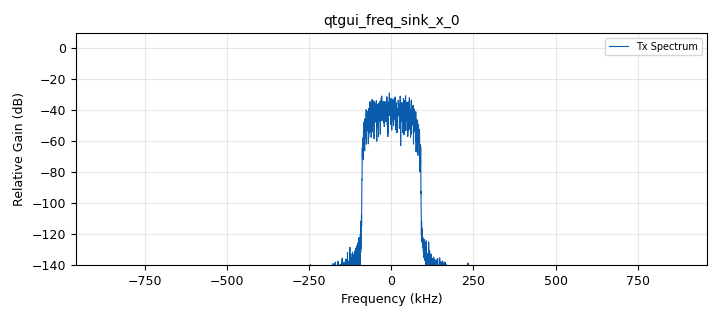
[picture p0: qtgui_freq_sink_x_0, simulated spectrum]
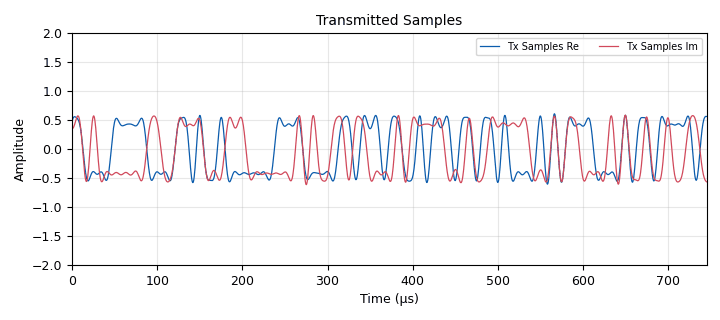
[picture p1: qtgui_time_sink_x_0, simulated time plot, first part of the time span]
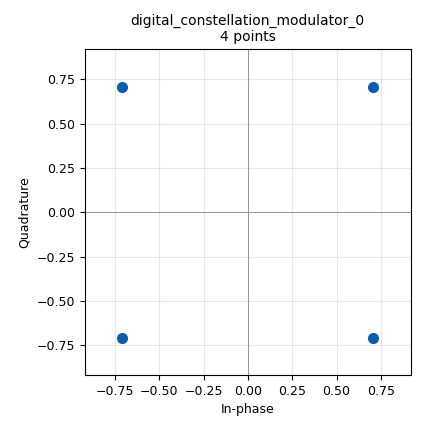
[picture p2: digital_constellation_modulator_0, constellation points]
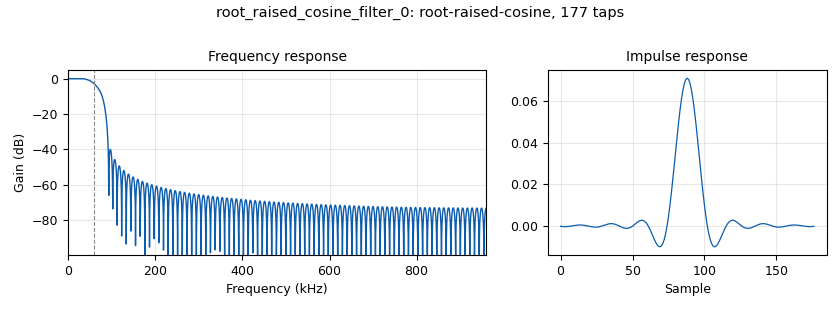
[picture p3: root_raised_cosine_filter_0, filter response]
options:
  parameters:
    generate_options: qt_gui
    id: fll_loopback_jupiter
    output_language: python
    title: fll_loopback_jupiter
  states: {}

blocks:
- name: alpha
  id: variable
  parameters:
    value: '0.5'
  states: {}
- name: buff_size
  id: variable
  parameters:
    value: int(32768)
  states: {}
- name: constellation
  id: variable_constellation
  parameters:
    const_points: '[-1-1j, -1+1j, 1+1j, 1-1j]'
    dims: '1'
    normalization: digital.constellation.AMPLITUDE_NORMALIZATION
    precision: '8'
    rot_sym: '4'
    sym_map: '[0, 1, 2, 3]'
    type: calcdist
  states: {}
- name: gain_control_mode_rx0
  id: variable
  parameters:
    value: '''spi'''
  states: {}
- name: hardwaregain_rx0
  id: variable
  parameters:
    value: int(15)
  states: {}
- name: hardwaregain_tx0
  id: variable
  parameters:
    value: int(0)
  states: {}
- name: interval_update
  id: variable
  parameters:
    value: int(0)
  states: {}
- name: jupiter_ip
  id: variable_config
  parameters:
    config_file: default
    option: key
    section: main
    type: string
    value: ip:jupiter.local
    writeback: None
  states: {}
- name: lo_offset
  id: variable
  parameters:
    value: int(0)
  states: {}
- name: offset_rx
  id: variable_qtgui_range
  parameters:
    gui_hint: (1,0,1,2)
    start: '-2000000'
    step: '1'
    stop: '1000000'
    value: '-250000'
  states: {}
- name: offset_tx
  id: variable
  parameters:
    value: int(250000)
  states: {}
- name: rx_lo_freq
  id: variable
  parameters:
    value: int(2200000000 )
  states: {}
- name: samp_rate
  id: variable
  parameters:
    value: '1920000'
  states: {}
- name: sps
  id: variable
  parameters:
    value: '16'
  states: {}
- name: tx_lo_freq
  id: variable
  parameters:
    value: int(2200000000 - lo_offset)
  states: {}
- name: analog_agc_xx_0
  id: analog_agc_xx
  parameters:
    gain: '1.0'
    max_gain: '65536'
    rate: '1e-4'
    reference: '1.0'
    type: complex
  states: {}
- name: analog_random_uniform_source_x_0
  id: analog_random_uniform_source_x
  parameters:
    maximum: '4'
    minimum: '0'
    seed: '0'
    type: byte
  states: {}
- name: analog_sig_source_x_0_0
  id: analog_sig_source_x
  parameters:
    amp: '1'
    freq: offset_tx
    offset: '0'
    phase: '0'
    samp_rate: samp_rate
    type: complex
    waveform: analog.GR_COS_WAVE
  states: {}
- name: analog_sig_source_x_0_0_0
  id: analog_sig_source_x
  parameters:
    amp: '1'
    freq: offset_rx
    offset: '0'
    phase: '0'
    samp_rate: samp_rate
    type: complex
    waveform: analog.GR_COS_WAVE
  states: {}
- name: blocks_complex_to_imag_0_4_0
  id: blocks_complex_to_imag
  parameters: {}
  states: {}
- name: blocks_complex_to_real_0_4_0
  id: blocks_complex_to_real
  parameters: {}
  states: {}
- name: blocks_float_to_complex_0
  id: blocks_float_to_complex
  parameters: {}
  states: {}
- name: blocks_float_to_short_0_0_4_0
  id: blocks_float_to_short
  parameters:
    scale: '32767'
  states: {}
- name: blocks_float_to_short_0_5_0
  id: blocks_float_to_short
  parameters:
    scale: '32767'
  states: {}
- name: blocks_multiply_const_vxx_0
  id: blocks_multiply_const_vxx
  parameters:
    const: '0.6'
    type: complex
  states: {}
- name: blocks_multiply_xx_0_0
  id: blocks_multiply_xx
  parameters:
    type: complex
  states: {}
- name: blocks_multiply_xx_0_0_0
  id: blocks_multiply_xx
  parameters:
    type: complex
  states: {}
- name: blocks_short_to_float_0
  id: blocks_short_to_float
  parameters:
    scale: '32767'
  states: {}
- name: blocks_short_to_float_0_1
  id: blocks_short_to_float
  parameters:
    scale: '32767'
  states: {}
- name: blocks_unpacked_to_packed_xx_0
  id: blocks_unpacked_to_packed_xx
  parameters:
    bits_per_chunk: '2'
    endianness: gr.GR_MSB_FIRST
    type: byte
  states: {}
- name: blocks_vector_source_x_0
  id: blocks_vector_source_x
  parameters:
    repeat: 'True'
    type: byte
    vector: (2,2,3,1,3,1,0,2,0)
  states: {state: disabled}
- name: digital_constellation_modulator_0
  id: digital_constellation_modulator
  parameters:
    constellation: constellation
    differential: 'True'
    excess_bw: alpha
    samples_per_symbol: sps
  states: {}
- name: digital_fll_band_edge_cc_0
  id: digital_fll_band_edge_cc
  parameters:
    filter_size: sps*2+1
    rolloff: alpha
    samps_per_sym: sps
    type: cc
    w: 2*math.pi/sps/100
  states: {}
- name: iio_attr_sink_0
  id: iio_attr_sink
  parameters:
    attr_type: '0'
    channel: voltage0
    device: adrv9002-phy
    output: 'False'
    uri: jupiter_ip
  states: {}
- name: iio_attr_sink_0_0
  id: iio_attr_sink
  parameters:
    attr_type: '0'
    channel: voltage1
    device: adrv9002-phy
    output: 'False'
    uri: jupiter_ip
  states: {}
- name: iio_attr_sink_0_0_0
  id: iio_attr_sink
  parameters:
    attr_type: '0'
    channel: voltage1
    device: adrv9002-phy
    output: 'True'
    uri: jupiter_ip
  states: {}
- name: iio_attr_sink_0_1
  id: iio_attr_sink
  parameters:
    attr_type: '0'
    channel: voltage0
    device: adrv9002-phy
    output: 'True'
    uri: jupiter_ip
  states: {}
- name: iio_attr_sink_0_1_0
  id: iio_attr_sink
  parameters:
    attr_type: '0'
    channel: altvoltage0
    device: adrv9002-phy
    output: 'True'
    uri: jupiter_ip
  states: {}
- name: iio_attr_sink_0_1_0_0
  id: iio_attr_sink
  parameters:
    attr_type: '0'
    channel: altvoltage2
    device: adrv9002-phy
    output: 'True'
    uri: jupiter_ip
  states: {}
- name: iio_attr_sink_0_1_0_1
  id: iio_attr_sink
  parameters:
    attr_type: '0'
    channel: voltage0
    device: adrv9002-phy
    output: 'False'
    uri: jupiter_ip
  states: {}
- name: iio_attr_updater_0
  id: iio_attr_updater
  parameters:
    attr: hardwaregain
    interval: interval_update
    value: str(hardwaregain_rx0)
  states: {}
- name: iio_attr_updater_0_0
  id: iio_attr_updater
  parameters:
    attr: hardwaregain
    interval: interval_update
    value: str(0)
  states: {}
- name: iio_attr_updater_0_0_0
  id: iio_attr_updater
  parameters:
    attr: hardwaregain
    interval: interval_update
    value: str(-40)
  states: {}
- name: iio_attr_updater_0_1
  id: iio_attr_updater
  parameters:
    attr: hardwaregain
    interval: interval_update
    value: str(hardwaregain_tx0)
  states: {}
- name: iio_attr_updater_0_1_0
  id: iio_attr_updater
  parameters:
    attr: frequency
    interval: interval_update
    value: str(rx_lo_freq)
  states: {}
- name: iio_attr_updater_0_1_0_0
  id: iio_attr_updater
  parameters:
    attr: frequency
    interval: interval_update
    value: str(tx_lo_freq)
  states: {}
- name: iio_attr_updater_0_1_0_1
  id: iio_attr_updater
  parameters:
    attr: gain_control_mode
    interval: interval_update
    value: gain_control_mode_rx0
  states: {}
- name: iio_device_sink_0_1
  id: iio_device_sink
  parameters:
    buffer_size: buff_size
    channels: '[''voltage0'',''voltage1'']'
    cyclic: 'True'
    device: axi-adrv9002-tx-lpc
    device_phy: adrv9002-phy
    interpolation: '1'
    params: '[]'
    uri: jupiter_ip
  states: {}
- name: iio_device_source_0
  id: iio_device_source
  parameters:
    buffer_size: buff_size
    channels: '[''voltage0_i'',''voltage0_q'']'
    decimation: '1'
    device: axi-adrv9002-rx-lpc
    device_phy: adrv9002-phy
    params: '[]'
    uri: jupiter_ip
  states: {}
- name: import_0
  id: import
  parameters:
    imports: import math
  states: {}
- name: qtgui_const_sink_x_0
  id: qtgui_const_sink_x
  parameters:
    grid: 'True'
    gui_hint: (3,0,1,1)
    label1: Received Constellation
    name: Received Constellation
    size: '1024'
    tr_level: '0.5'
    tr_mode: qtgui.TRIG_MODE_NORM
    type: complex
  states: {}
- name: qtgui_eye_sink_x_0_0
  id: qtgui_eye_sink_x
  parameters:
    grid: 'True'
    gui_hint: (3,1,1,1)
    label1: Rx Samples Re
    label2: Rx Samples Im
    samp_per_symbol: sps
    size: '1024'
    srate: samp_rate
    type: complex
    ymax: '2'
    ymin: '-2'
  states: {}
- name: qtgui_freq_sink_x_0
  id: qtgui_freq_sink_x
  parameters:
    bw: samp_rate
    fc: '0'
    fftsize: '8192'
    grid: 'True'
    gui_hint: (0,1,1,1)
    label1: Tx Spectrum
    tr_level: '-40'
    tr_mode: qtgui.TRIG_MODE_NORM
    type: complex
    update_time: '1'
  states: {}
- name: qtgui_freq_sink_x_0_0_0
  id: qtgui_freq_sink_x
  parameters:
    bw: samp_rate
    color4: '"magenta"'
    fc: '0'
    fftsize: '8192'
    grid: 'True'
    gui_hint: (2,1,1,1)
    label1: Rx Spectrum
    label2: Rx Spectrum + Freq Offset
    label3: Rx Spectrum + Freq Offset + FLL
    label4: Rx Spectrum+Freq Offset+FLL+RRC
    name: '"Received spectrum"'
    nconnections: '4'
    tr_level: '-40'
    tr_mode: qtgui.TRIG_MODE_NORM
    type: complex
    width4: '3'
  states: {}
- name: qtgui_time_sink_x_0
  id: qtgui_time_sink_x
  parameters:
    grid: 'True'
    gui_hint: (0,0,1,1)
    label1: Tx Samples Re
    label2: Tx Samples Im
    name: Transmitted Samples
    size: 1024*3
    srate: samp_rate
    tr_level: '0.5'
    tr_mode: qtgui.TRIG_MODE_NORM
    type: complex
    ymax: '2'
    ymin: '-2'
  states: {}
- name: qtgui_time_sink_x_1_0
  id: qtgui_time_sink_x
  parameters:
    grid: 'True'
    gui_hint: (2,0,1,1)
    label1: Rx Samples+Freq Offset+FLL+RRC Re
    label2: Rx Samples+Freq Offset+FLL+RRC Im
    name: '"Received Samples"'
    size: 1024*3
    srate: samp_rate
    tr_level: '0.1'
    tr_mode: qtgui.TRIG_MODE_NORM
    type: complex
    ymax: '2'
    ymin: '-2'
  states: {}
- name: root_raised_cosine_filter_0
  id: root_raised_cosine_filter
  parameters:
    alpha: alpha
    decim: '1'
    gain: '1'
    ntaps: 11*sps
    samp_rate: samp_rate
    sym_rate: samp_rate/sps
    type: fir_filter_ccf
  states: {}

connections:
- [analog_agc_xx_0, '0', digital_fll_band_edge_cc_0, '0']
- [analog_agc_xx_0, '0', qtgui_freq_sink_x_0_0_0, '1']
- [analog_random_uniform_source_x_0, '0', blocks_unpacked_to_packed_xx_0, '0']
- [analog_sig_source_x_0_0, '0', blocks_multiply_xx_0_0, '1']
- [analog_sig_source_x_0_0_0, '0', blocks_multiply_xx_0_0_0, '1']
- [blocks_complex_to_imag_0_4_0, '0', blocks_float_to_short_0_0_4_0, '0']
- [blocks_complex_to_real_0_4_0, '0', blocks_float_to_short_0_5_0, '0']
- [blocks_float_to_complex_0, '0', blocks_multiply_xx_0_0_0, '0']
- [blocks_float_to_complex_0, '0', qtgui_freq_sink_x_0_0_0, '0']
- [blocks_float_to_short_0_0_4_0, '0', iio_device_sink_0_1, '1']
- [blocks_float_to_short_0_5_0, '0', iio_device_sink_0_1, '0']
- [blocks_multiply_const_vxx_0, '0', blocks_multiply_xx_0_0, '0']
- [blocks_multiply_const_vxx_0, '0', qtgui_freq_sink_x_0, '0']
- [blocks_multiply_const_vxx_0, '0', qtgui_time_sink_x_0, '0']
- [blocks_multiply_xx_0_0, '0', blocks_complex_to_imag_0_4_0, '0']
- [blocks_multiply_xx_0_0, '0', blocks_complex_to_real_0_4_0, '0']
- [blocks_multiply_xx_0_0_0, '0', analog_agc_xx_0, '0']
- [blocks_short_to_float_0, '0', blocks_float_to_complex_0, '0']
- [blocks_short_to_float_0_1, '0', blocks_float_to_complex_0, '1']
- [blocks_unpacked_to_packed_xx_0, '0', digital_constellation_modulator_0, '0']
- [blocks_vector_source_x_0, '0', blocks_unpacked_to_packed_xx_0, '0']
- [digital_constellation_modulator_0, '0', blocks_multiply_const_vxx_0, '0']
- [digital_fll_band_edge_cc_0, '0', qtgui_freq_sink_x_0_0_0, '2']
- [digital_fll_band_edge_cc_0, '0', root_raised_cosine_filter_0, '0']
- [iio_attr_updater_0, out, iio_attr_sink_0, attr]
- [iio_attr_updater_0_0, out, iio_attr_sink_0_0, attr]
- [iio_attr_updater_0_0_0, out, iio_attr_sink_0_0_0, attr]
- [iio_attr_updater_0_1, out, iio_attr_sink_0_1, attr]
- [iio_attr_updater_0_1_0, out, iio_attr_sink_0_1_0, attr]
- [iio_attr_updater_0_1_0_0, out, iio_attr_sink_0_1_0_0, attr]
- [iio_attr_updater_0_1_0_1, out, iio_attr_sink_0_1_0_1, attr]
- [iio_device_source_0, '0', blocks_short_to_float_0, '0']
- [iio_device_source_0, '1', blocks_short_to_float_0_1, '0']
- [root_raised_cosine_filter_0, '0', qtgui_const_sink_x_0, '0']
- [root_raised_cosine_filter_0, '0', qtgui_eye_sink_x_0_0, '0']
- [root_raised_cosine_filter_0, '0', qtgui_freq_sink_x_0_0_0, '3']
- [root_raised_cosine_filter_0, '0', qtgui_time_sink_x_1_0, '0']

metadata:
  file_format: 1
  grc_version: v3.10.11.0-1-gee27d6f3
